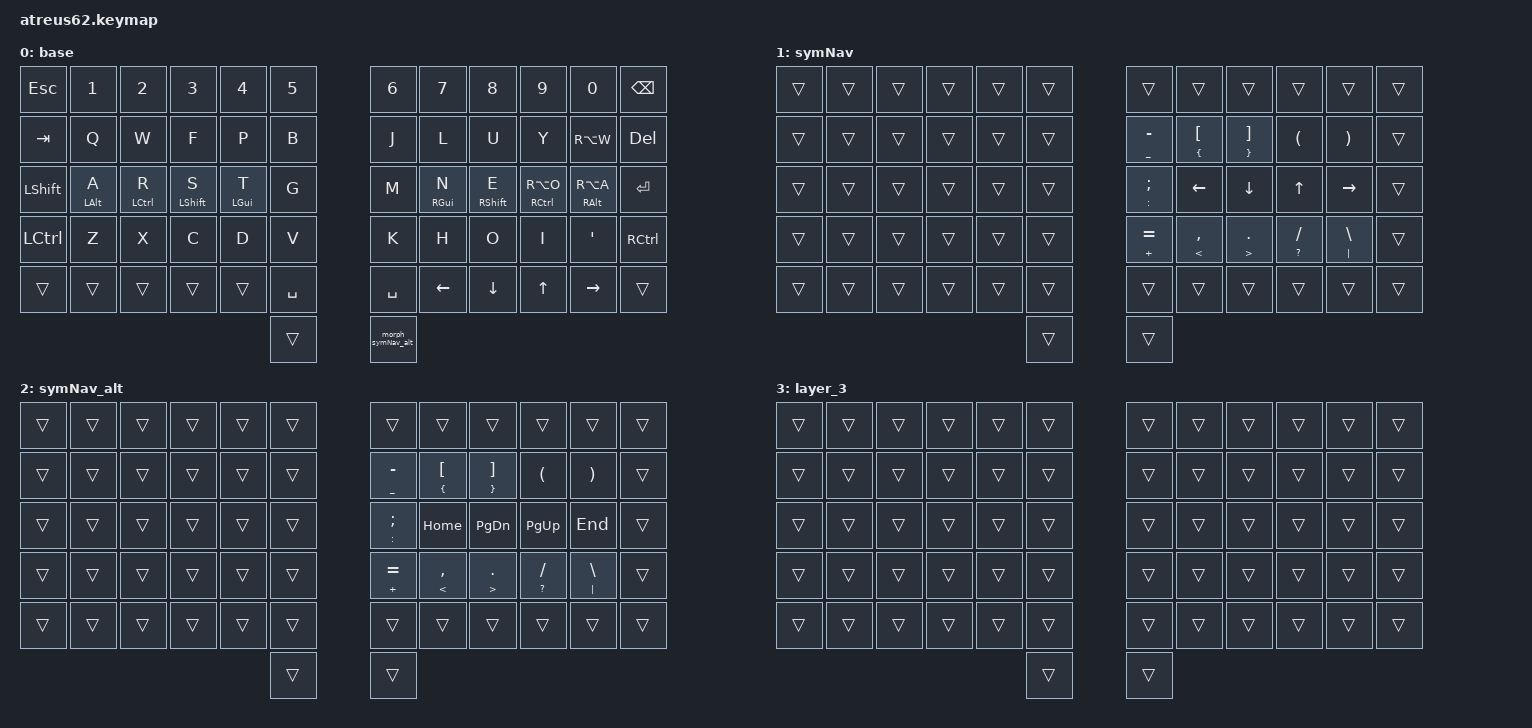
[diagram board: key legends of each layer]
#include <behaviors.dtsi>
#include <dt-bindings/zmk/keys.h>

/*
Key positions:

00 01 02 03 04 05       06 07 08 09 10 11
12 13 14 15 16 17       18 19 20 21 22 23
24 25 26 27 28 29       30 31 32 33 34 35
36 37 38 39 40 41       42 43 44 45 46 47
48 49 50 51 52 53       54 55 56 57 58 59
                  60 61
*/

/ {
    behaviors {
        modsLeft: modsLeft {
            compatible = "zmk,behavior-hold-tap";
            label = "MODSLEFT";
            bindings = <&kp>, <&kp>;

            #binding-cells = <2>;
            tapping-term-ms = <280>;
            quick-tap-ms = <175>;
            hold-trigger-on-release;
            hold-trigger-key-positions = <6 7 8 9 10 11 18 19 20 21 22 23 30 31 32 33 34 35 42 43 44 45 46 47 54 55 56 57 58 59 61>;
            flavor = "balanced";
            require-prior-idle-ms = <125>;
        };

        modsRight: modsRight {
            compatible = "zmk,behavior-hold-tap";
            label = "MODSRIGHT";
            bindings = <&kp>, <&kp>;

            #binding-cells = <2>;
            tapping-term-ms = <280>;
            quick-tap-ms = <175>;
            hold-trigger-on-release;
            hold-trigger-key-positions = <0 1 2 3 4 5 12 13 14 15 16 17 24 25 26 27 28 29 36 37 38 39 40 41 48 49 50 51 52 53 60>;
            flavor = "balanced";
            require-prior-idle-ms = <125>;
        };

        morph_symNav_alt: morph_symNav_alt {
            compatible = "zmk,behavior-mod-morph";
            label = "MORPH_SYMNAV_ALT";
            bindings = <&mo 1>, <&mo 0>;

            #binding-cells = <0>;
            mods = <(MOD_LSFT|MOD_RSFT)>;
        };
    };

    keymap {
        compatible = "zmk,keymap";

        base {
            bindings = <
&kp ESC    &kp N1            &kp N2             &kp N3              &kp N4            &kp N5     &kp N6             &kp N7             &kp N8               &kp N9                  &kp N0                 &kp BSPC
&kp TAB    &kp Q             &kp W              &kp F               &kp P             &kp B      &kp J              &kp L              &kp U                &kp Y                   &kp RA(W)              &kp DEL
&kp LSHFT  &modsLeft LALT A  &modsLeft LCTRL R  &modsLeft LSHIFT S  &modsLeft LGUI T  &kp G      &kp M              &modsRight RGUI N  &modsRight RSHIFT E  &modsRight RCTRL RA(O)  &modsRight RALT RA(A)  &kp RET
&kp LCTRL  &kp Z             &kp X              &kp C               &kp D             &kp V      &kp K              &kp H              &kp O                &kp I                   &kp SQT                &kp RCTRL
&trans     &trans            &trans             &trans              &trans            &kp SPACE  &kp SPACE          &kp LEFT           &kp DOWN             &kp UP                  &kp RIGHT              &trans
                                                                                      &trans     &morph_symNav_alt
            >;
        };

        symNav {
            bindings = <
&trans  &trans  &trans  &trans  &trans  &trans  &trans           &trans         &trans         &trans          &trans         &trans
&trans  &trans  &trans  &trans  &trans  &trans  &mt UNDER MINUS  &mt LBRC LBKT  &mt RBRC RBKT  &kp LPAR        &kp RPAR       &trans
&trans  &trans  &trans  &trans  &trans  &trans  &mt COLON SEMI   &kp LEFT       &kp DOWN       &kp UP          &kp RIGHT      &trans
&trans  &trans  &trans  &trans  &trans  &trans  &mt PLUS EQUAL   &mt LT COMMA   &mt GT DOT     &mt QMARK FSLH  &mt PIPE BSLH  &trans
&trans  &trans  &trans  &trans  &trans  &trans  &trans           &trans         &trans         &trans          &trans         &trans
                                        &trans  &trans
            >;
        };

        symNav_alt {
            bindings = <
&trans  &trans  &trans  &trans  &trans  &trans  &trans           &trans         &trans         &trans          &trans         &trans
&trans  &trans  &trans  &trans  &trans  &trans  &mt UNDER MINUS  &mt LBRC LBKT  &mt RBRC RBKT  &kp LPAR        &kp RPAR       &trans
&trans  &trans  &trans  &trans  &trans  &trans  &mt COLON SEMI   &kp HOME       &kp PG_DN      &kp PG_UP       &kp END        &trans
&trans  &trans  &trans  &trans  &trans  &trans  &mt PLUS EQUAL   &mt LT COMMA   &mt GT DOT     &mt QMARK FSLH  &mt PIPE BSLH  &trans
&trans  &trans  &trans  &trans  &trans  &trans  &trans           &trans         &trans         &trans          &trans         &trans
                                        &trans  &trans
            >;
        };

        layer_3 {
            bindings = <
&trans  &trans  &trans  &trans  &trans  &trans  &trans  &trans  &trans  &trans  &trans  &trans
&trans  &trans  &trans  &trans  &trans  &trans  &trans  &trans  &trans  &trans  &trans  &trans
&trans  &trans  &trans  &trans  &trans  &trans  &trans  &trans  &trans  &trans  &trans  &trans
&trans  &trans  &trans  &trans  &trans  &trans  &trans  &trans  &trans  &trans  &trans  &trans
&trans  &trans  &trans  &trans  &trans  &trans  &trans  &trans  &trans  &trans  &trans  &trans
                                        &trans  &trans
            >;
        };
    };

    conditional_layers { compatible = "zmk,conditional-layers"; };
};
